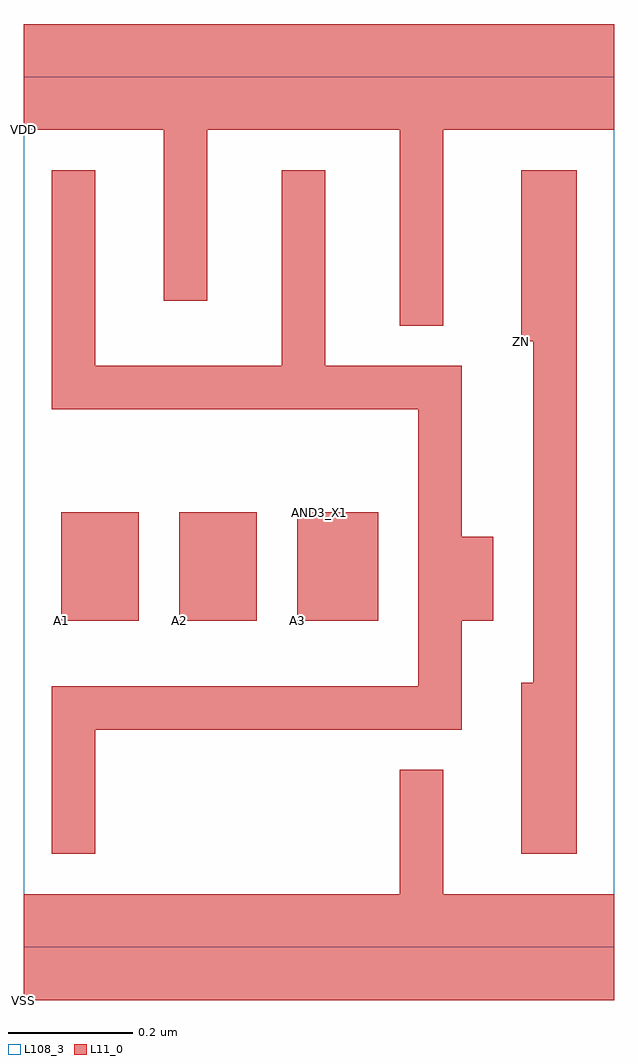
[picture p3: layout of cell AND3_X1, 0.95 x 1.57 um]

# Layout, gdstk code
import gdstk
lib = gdstk.Library(unit=1e-6, precision=1e-09)
def R(c, l, rs):  # rectangles x0, y0, x1, y1
    for r in rs: c.add(gdstk.rectangle(r[:2], r[2:], *l))
def P(c, l, *ps):  # polygons
    for p in ps: c.add(gdstk.Polygon(p, *l))
L11_0 = (11, 0)
L108_3 = (108, 3)

and3_x1 = lib.new_cell('AND3_X1')
R(and3_x1, L11_0, [(0.06,0.525,0.185,0.7), (0.25,0.525,0.375,0.7), (0.44,0.525,0.57,0.7)])
P(and3_x1, L11_0, [(0.8,0.975),(0.82,0.975),(0.82,0.425),(0.8,0.425),(0.8,0.15),(0.89,0.15),(0.89,1.25),(0.8,1.25)],
  [(0,1.315),(0.225,1.315),(0.225,1.04),(0.295,1.04),(0.295,1.315),(0.605,1.315),(0.605,1),(0.675,1),(0.675,1.315),(0.755,1.315),(0.95,1.315),(0.95,1.485),(0.755,1.485),(0,1.485)],
  [(0,-0.085),(0.95,-0.085),(0.95,0.085),(0.675,0.085),(0.675,0.285),(0.605,0.285),(0.605,0.085),(0,0.085)],
  [(0.045,0.865),(0.635,0.865),(0.635,0.42),(0.045,0.42),(0.045,0.15),(0.115,0.15),(0.115,0.35),(0.705,0.35),(0.705,0.525),(0.755,0.525),(0.755,0.66),(0.705,0.66),(0.705,0.935),(0.485,0.935),(0.485,1.25),(0.415,1.25),(0.415,0.935),(0.115,0.935),(0.115,1.25),(0.045,1.25)])
R(and3_x1, L108_3, [(0,0,0.95,1.4)])
and3_x1.add(gdstk.Label('AND3_X1', (0.475,0.7), layer=108, texttype=3))
and3_x1.add(gdstk.Label('A1', (0.06,0.525), layer=11, texttype=0))
and3_x1.add(gdstk.Label('A2', (0.25,0.525), layer=11, texttype=0))
and3_x1.add(gdstk.Label('A3', (0.44,0.525), layer=11, texttype=0))
and3_x1.add(gdstk.Label('ZN', (0.8,0.975), layer=11, texttype=0))
and3_x1.add(gdstk.Label('VDD', (0,1.315), layer=11, texttype=0))
and3_x1.add(gdstk.Label('VSS', (0,-0.085), layer=11, texttype=0))

lib.write_gds('AND3_X1.gds')
